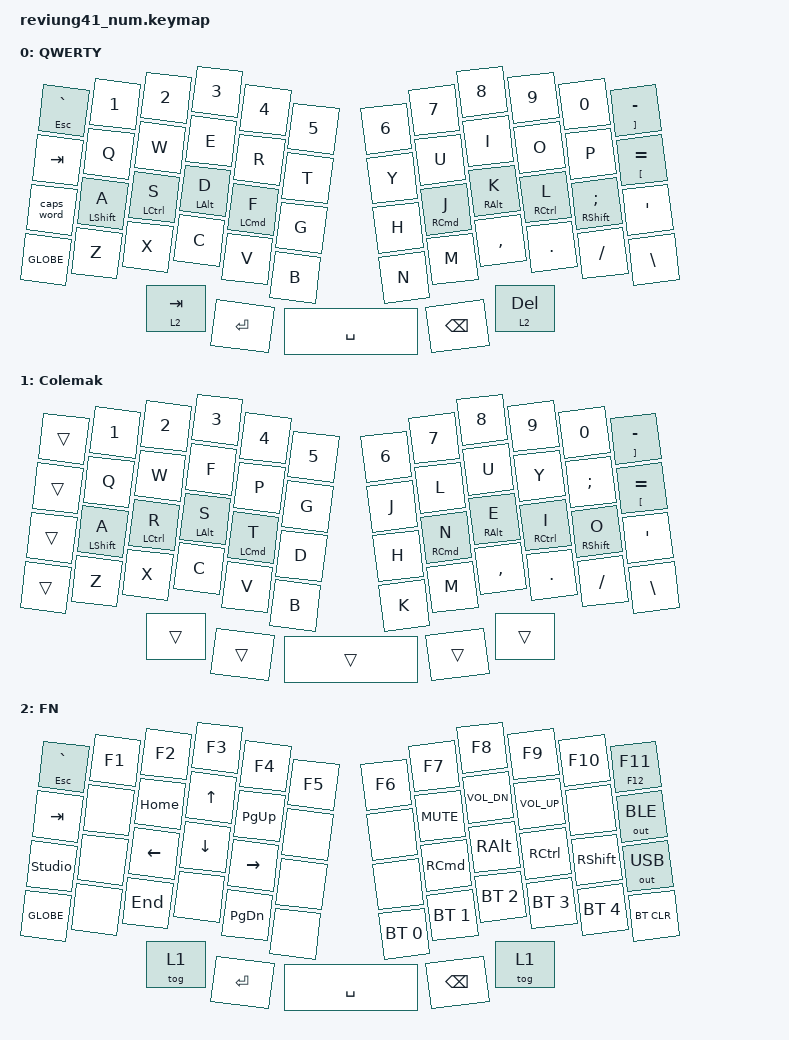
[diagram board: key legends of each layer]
/*
 * Copyright (c) 2020 The ZMK Contributors
 *
 * SPDX-License-Identifier: MIT
 */
#include <dt-bindings/zmk/keys.h>
#include <dt-bindings/zmk/bt.h>
#include <dt-bindings/zmk/outputs.h>
#include <behaviors.dtsi>

&mt {
   flavor = "tap-preferred";
   quick_tap_ms = <125>;
   tapping_term_ms = <250>;
};

&lt {
   quick_tap_ms = <125>;
};

/ {
  combos {
    compatible = "zmk,combos";

    combo_ctrl {
      timeout-ms = <100>;
      key-positions = <48 52>;
      bindings = <&tog 2>;
    };

    combo_colemak {
      timeout-ms = <100>;
      key-positions = <0 36 47 11>;
      bindings = <&tog 1>;
    };
  };

  keymap {
    compatible = "zmk,keymap";
    qwerty {
      display-name = "QWERTY";
      bindings = <
      &mt ESC GRAVE   &kp N1        &kp N2      &kp N3     &kp N4      &kp N5          &kp N6 &kp N7     &kp N8        &kp N9        &kp N0          &mt RBKT MINUS
      &kp TAB         &kp Q         &kp W       &kp E      &kp R       &kp T           &kp Y  &kp U      &kp I         &kp O         &kp P           &mt LBKT EQUAL
      &caps_word      &mt LSHIFT A  &mt LCTRL S &mt LALT D &mt LCMD F  &kp G           &kp H  &mt RCMD J &mt RALT K    &mt RCTRL L   &mt RSHFT SEMI  &kp SQT
      &kp GLOBE       &kp Z         &kp X       &kp C      &kp V       &kp B           &kp N  &kp M      &kp COMMA     &kp DOT       &kp FSLH        &kp BSLH
                                                &lt 2 TAB  &kp RET           &kp SPACE        &kp BSPC    &lt 2 DEL
      >;
    };

    colemak {
      display-name = "Colemak";
      bindings = <
      &trans          &kp N1        &kp N2      &kp N3     &kp N4      &kp N5          &kp N6 &kp N7     &kp N8        &kp N9        &kp N0          &mt RBKT MINUS
      &trans          &kp Q         &kp W       &kp F      &kp P       &kp G           &kp J  &kp L      &kp U         &kp Y         &kp SEMI        &mt LBKT EQUAL
      &trans          &mt LSHIFT A  &mt LCTRL R &mt LALT S &mt LCMD T  &kp D           &kp H  &mt RCMD N &mt RALT E    &mt RCTRL I   &mt RSHFT O     &kp SQT
      &trans          &kp Z         &kp X       &kp C      &kp V       &kp B           &kp K  &kp M      &kp COMMA     &kp DOT       &kp FSLH        &kp BSLH
                                                &trans     &trans            &trans           &trans     &trans
      >;
    };

    function {
      display-name = "FN";
      bindings = <
      &mt ESC GRAVE   &kp F1        &kp F2      &kp F3     &kp F4      &kp F5          &kp F6       &kp F7       &kp F8        &kp F9        &kp F10      &mt F12 F11
      &kp TAB         &none         &kp HOME    &kp UP     &kp PG_UP   &none           &none        &kp C_MUTE   &kp C_VOL_DN  &kp C_VOL_UP  &none        &out OUT_BLE
      &studio_unlock  &none         &kp LEFT    &kp DOWN   &kp RIGHT   &none           &none        &kp RCMD     &kp RALT      &kp RCTRL     &kp RSHFT    &out OUT_USB
      &kp GLOBE       &none         &kp END     &none      &kp PG_DN   &none           &bt BT_SEL 0 &bt BT_SEL 1 &bt BT_SEL 2  &bt BT_SEL 3  &bt BT_SEL 4 &bt BT_CLR
                                                &tog 1     &kp RET           &kp SPACE              &kp BSPC     &tog 1
      >;
    };
  };
};
